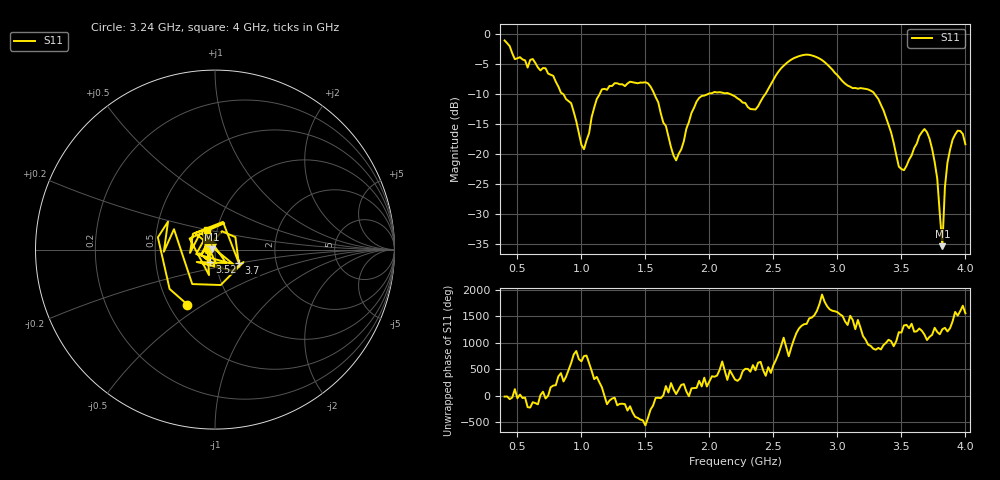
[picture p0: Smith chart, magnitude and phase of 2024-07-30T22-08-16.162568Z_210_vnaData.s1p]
!Created with skrf (http://scikit-rf.org).
# Hz S RI R 50.0
!freq ReS11 ImS11
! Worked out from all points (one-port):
!   181 points, 400 MHz to 4 GHz, reference 50 ohm
!   lowest |S11| = -35.4 dB at 3.82 GHz (marker M1), VSWR 1.03, Z = 48.3 + j0.193 ohm
!   |S11| at or under -10 dB: 851.7 MHz to 1.144 GHz (292.7 MHz wide, 29.3 % of centre); 1.568 GHz to 1.996 GHz (428.1 MHz wide, 24 % of centre); 3.289 GHz to end of sweep (the widest 3 of 4)
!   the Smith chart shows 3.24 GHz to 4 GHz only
!   S11 on the Smith chart (normalised r, x): 3.24 GHz: 0.62, -0.43; 3.52 GHz: 0.94, -0.13; 3.7 GHz: 1.29, -0.19; 4 GHz: 0.89, +0.20
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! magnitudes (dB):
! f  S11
! 400 MHz  -1.2
! 860 MHz  -10.1
! 920 MHz  -11.6
! 1.02 GHz  -19.3
! 1.16 GHz  -9.3
! 1.3 GHz  -8.5
! 1.52 GHz  -8.3
! 1.6 GHz  -11.4
! 1.72 GHz  -20.3
! 1.76 GHz  -20.0
! 1.92 GHz  -10.7
! 2.2 GHz  -10.5
! 2.36 GHz  -12.6
! 2.66 GHz  -4.1
! 2.86 GHz  -4.2
! 3.1 GHz  -8.9
! 3.24 GHz  -9.3
! 3.36 GHz  -12.8
! 3.48 GHz  -22.1
! 3.52 GHz  -22.7
! 3.56 GHz  -21.0
! 3.7 GHz  -16.4
! 3.78 GHz  -24.1
! 3.82 GHz  -35.4
! 3.84 GHz  -25.5
! 3.88 GHz  -19.3
! 3.94 GHz  -16.2
! 4 GHz  -18.4
